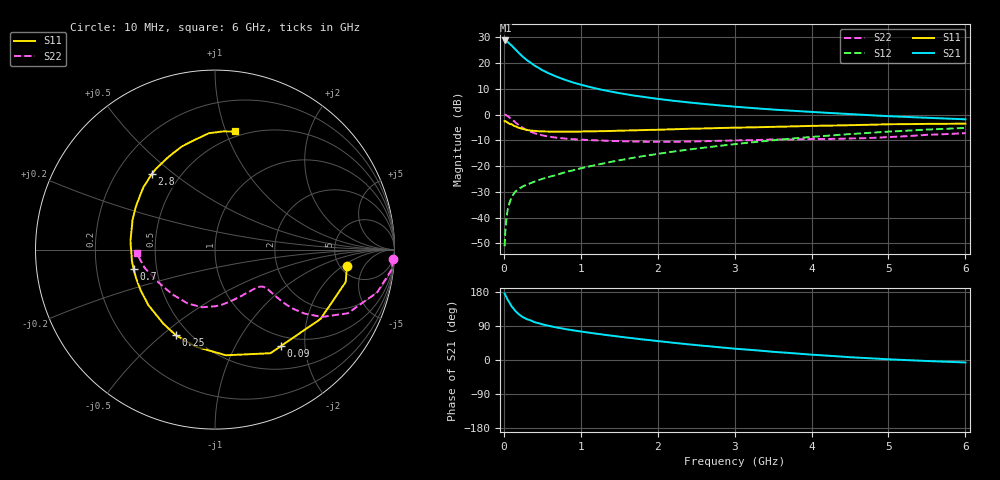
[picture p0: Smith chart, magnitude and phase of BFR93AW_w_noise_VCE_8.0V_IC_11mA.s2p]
! Infineon Technologies  Discrete & RF Semiconductors
! BFR93AW
! VCE =  8.0 V,  IC =  11 mA
! Common Emitter S-Parameters:  Jan 2017
# GHz  S  MA  R  50
!  f  S11  S21  S12  S22
! GHz  MAG  ANG  MAG  ANG  MAG  ANG  MAG  ANG
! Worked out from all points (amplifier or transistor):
!   77 points, 10 MHz to 6 GHz, reference 50 ohm
!   highest |S21| = 28.8 dB at 20 MHz (marker M1)
!   |S21| within 3 dB of that: start of sweep to 134.8 MHz
!   unconditionally stable (mu >= 1): 852.5 MHz to 2.094 GHz
!   at 130 MHz: K = 0.31, MSG = 28.3 dB, |S12| = -30.7 dB
!   at 2.2 GHz: K = 0.99, MSG = 9.9 dB, |S12| = -14.4 dB
!   at 6 GHz: K = 0.86, MSG = 1.7 dB, |S12| = -5.2 dB
!   lowest NFmin = 1.26 dB at 450 MHz
!   S11 on the Smith chart (normalised r, x): 10 MHz: 5.77, -2.31; 90 MHz: 0.83, -1.55; 250 MHz: 0.42, -0.56; 700 MHz: 0.37, -0.10; 2.8 GHz: 0.35, +0.42; 6 GHz: 0.45, +1.07
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0.01  0.741 -7.0  27.23 175.3  0.0028 86.9  0.9927 -3.1
0.02  0.7504 -13.9  27.42 171.2  0.0057 90.6  0.9907 -6.4
0.05  0.7037 -33.3  25.66 158.9  0.0143 74.8  0.9353 -14.7
0.09  0.651 -55.9  22.62 145.5  0.0227 66.6  0.8409 -23.2
0.1  0.6548 -61.8  22.08 141.7  0.0249 65.4  0.8206 -25.6
0.15  0.5919 -84.1  18.4 129.1  0.0322 57.7  0.7045 -32.2
0.2  0.5517 -101.1  15.42 119.9  0.0366 54.8  0.6141 -35.5
0.25  0.5247 -114.5  13.15 112.9  0.0408 52.5  0.5477 -37.1
0.3  0.5031 -124.9  11.36 107.8  0.0435 52.6  0.497 -37.7
0.4  0.4832 -140.2  8.924 99.8  0.0503 53.4  0.4336 -37.6
0.5  0.4723 -151.4  7.28 94.1  0.0567 55.5  0.3952 -37.3
0.6  0.4677 -160.0  6.165 89.4  0.0625 57.5  0.3706 -36.9
0.7  0.4664 -166.5  5.328 85.4  0.0685 59.5  0.3544 -36.9
0.9  0.4659 -177.4  4.194 78.3  0.083 61.9  0.3337 -38.2
1.1  0.4735 174.1  3.481 72.4  0.098 63.9  0.321 -40.4
1.5  0.4873 160.8  2.607 61.7  0.1297 65.5  0.3051 -47.5
2.1  0.5128 145.1  1.938 47.8  0.1817 64.7  0.2966 -63.0
2.8  0.5484 130.1  1.509 33.6  0.247 60.9  0.3101 -83.6
3.1  0.5607 124.0  1.387 28.4  0.2768 58.5  0.3167 -92.0
4.1  0.6066 106.2  1.105 12.8  0.3785 49.0  0.3358 -120.5
5.1  0.6505 91.7  0.918 1.0  0.4752 37.5  0.3717 -153.9
6  0.667 80.6  0.81 -6.5  0.5505 26.7  0.4369 -177.3
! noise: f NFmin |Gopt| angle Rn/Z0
0.45  1.26  0.12  111  0.13
0.9  1.57  0.23  157  0.14
1.9  2.62  0.47  -146  0.18
2.4  3.24  0.54  -130  0.37
